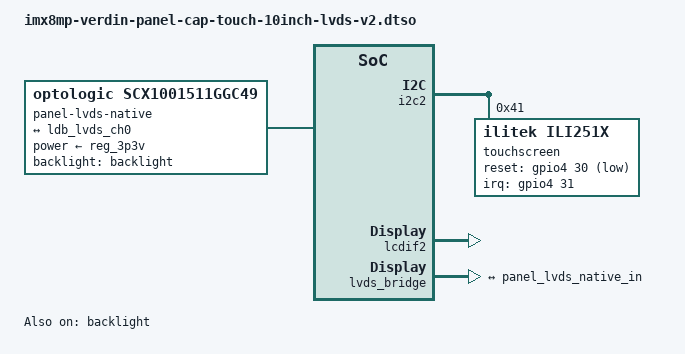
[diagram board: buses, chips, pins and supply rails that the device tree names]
// SPDX-License-Identifier: GPL-2.0-or-later OR MIT
/*
 * Copyright (c) Toradex
 *
 * Toradex Capacitive Touch Display 10.1" V2 connected via Verdin iMX8M Plus
 * LCDIF on carrier boards with a Toradex standard LVDS display connector
 * (e.g., Mallow).
 *
 * https://developer.toradex.com/hardware/accessories/displays/capacitive-touch-display-101inch-lvds
 * https://www.toradex.com/accessories/capacitive-touch-display-10.1-inch-lvds
 */

/dts-v1/;
/plugin/;

#include <dt-bindings/clock/imx8mp-clock.h>
#include <dt-bindings/gpio/gpio.h>
#include <dt-bindings/interrupt-controller/irq.h>

#include "imx8mp-pinfunc.h"

&{/} {
	panel-lvds-native {
		compatible = "optologic,scx1001511ggc49", "panel-lvds";
		backlight = <&backlight>;
		data-mapping = "vesa-24";
		power-supply = <&reg_3p3v>;
		height-mm = <136>;
		width-mm = <217>;

		panel-timing {
			clock-frequency = <64500000>;
			hactive = <1280>;
			hback-porch = <20>;
			hfront-porch = <20>;
			hsync-len = <2>;
			vactive = <800>;
			vback-porch = <5>;
			vfront-porch = <5>;
			vsync-len = <3>;
			de-active = <1>;
			hsync-active = <0>;
			vsync-active = <0>;
			pixelclk-active = <0>;
		};

		port {
			panel_lvds_native_in: endpoint {
				remote-endpoint = <&ldb_lvds_ch0>;
			};
		};
	};
};

&backlight {
	/* Verdin PWM_2 (SODIMM 16) */
	pwms = <&pwm2 0 6666667 0>;

	status = "okay";
};

&i2c2 {
	#address-cells = <1>;
	#size-cells = <0>;

	touchscreen@41 {
		compatible = "ilitek,ili251x";
		reg = <0x41>;
		pinctrl-names = "default";
		pinctrl-0 = <&pinctrl_i2s_2_d_in_gpio>,
			    <&pinctrl_i2s_2_sync_gpio>;
		/* Verdin I2S_2_SYNC as GPIO (SODIMM 44) */
		interrupt-parent = <&gpio4>;
		interrupts = <31 IRQ_TYPE_EDGE_RISING>;
		/* Verdin I2S_2_D_IN as GPIO (SODIMM 48) */
		reset-gpios = <&gpio4 30 GPIO_ACTIVE_LOW>;
	};
};

&iomuxc {
	pinctrl_i2s_2_d_in_gpio: gpio4io30grp {
		fsl,pins = <MX8MP_IOMUXC_SAI3_RXD__GPIO4_IO30 0x1c4>;	/* SODIMM 48 */
	};

	pinctrl_i2s_2_sync_gpio: gpio4io31grp {
		fsl,pins = <MX8MP_IOMUXC_SAI3_TXFS__GPIO4_IO31 0x184>;	/* SODIMM 44 */
	};
};

&lcdif2 {
	status = "okay";
};

&lvds_bridge {
	assigned-clocks = <&clk IMX8MP_CLK_MEDIA_LDB>,
			  <&clk IMX8MP_VIDEO_PLL1>;
	/*
	 * This display uses 64.5 MHz pixel clock, so IMX8MP_VIDEO_PLL1 needs
	 * to be 7 times 64.5MHz, or 451.5 MHz as the internal divider will
	 * always divide the output LVDS clock by 7.
	 */
	assigned-clock-rates = <0>, <451500000>;

	status = "okay";

	ports {
		#address-cells = <1>;
		#size-cells = <0>;

		port@1 {
			reg = <1>;

			ldb_lvds_ch0: endpoint {
				remote-endpoint = <&panel_lvds_native_in>;
			};
		};
	};
};
